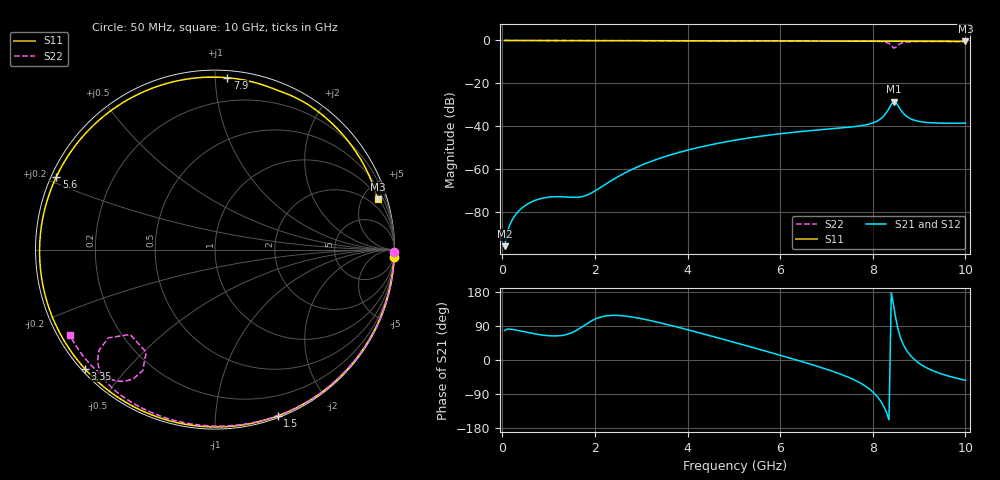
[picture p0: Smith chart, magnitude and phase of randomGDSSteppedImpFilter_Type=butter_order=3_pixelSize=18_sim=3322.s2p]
! freq	dB(S11)	phase(S11)	dB(S12)	phase(S12)
!  dB(S21)	phase(S21)	dB(S22)	phase(S22)
!S-par simulation data
#  GHz  S  DB  R 50
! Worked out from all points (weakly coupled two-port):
!   200 points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, 50 MHz to 10 GHz, reference 50 ohm
!   highest |S21| = -28.50 dB at 8.45 GHz (marker M1); lowest = -96.0 dB at 50 MHz (marker M2)
!   lowest |S11| = -0.5 dB at 10 GHz (marker M3), VSWR 38.26, Z = 56.7 + j321 ohm
!   |S11| at or under -10 dB: nowhere
!   |S22| runs from -3.5 to 0.0 dB; largest |S21 - S12| = 0
!   S11 on the Smith chart (normalised r, x): 50 MHz: 2, -45; 1.5 GHz: 0.01, -1.45; 3.35 GHz: 0.01, -0.39; 5.6 GHz: 0.01, +0.22; 7.9 GHz: 0.04, +1.07; 10 GHz: 1.13, +6.42
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0.05  -0.01 -2.5  -95.98 77.8  -95.98 77.8  -0.01 -0.9
0.35  -0.03 -16.9  -79.68 77.6  -79.68 77.6  -0.01 -6.1
0.55  -0.04 -26.5  -76.25 72.5  -76.25 72.5  -0.01 -9.5
0.85  -0.05 -40.5  -73.69 66.1  -73.69 66.1  -0.02 -14.7
1.5  -0.08 -69.4  -73.16 72.1  -73.16 72.1  -0.03 -25.7
1.75  -0.09 -79.7  -72.69 89.6  -72.69 89.6  -0.04 -30.0
2.5  -0.12 -108.6  -63.54 117.6  -63.54 117.6  -0.05 -42.4
3.35  -0.15 -137.6  -55.36 99.9  -55.36 99.9  -0.07 -56.1
3.4  -0.15 -139.2  -54.99 98.4  -54.99 98.4  -0.08 -56.9
4.2  -0.18 -164.0  -50.12 73.5  -50.12 73.5  -0.10 -69.5
5.05  -0.21 171.1  -46.44 45.2  -46.44 45.2  -0.13 -82.3
5.6  -0.24 155.3  -44.63 26.4  -44.63 26.4  -0.15 -90.5
6.7  -0.29 123.0  -41.98 -12.7  -41.98 -12.7  -0.21 -106.5
7.3  -0.32 104.8  -40.85 -37.1  -40.85 -37.1  -0.25 -115.3
7.9  -0.35 85.9  -39.14 -74.1  -39.14 -74.1  -0.33 -125.1
8.15  -0.38 77.9  -36.89 -105.0  -36.89 -105.0  -0.47 -130.9
8.35  -0.41 71.5  -31.74 -157.7  -31.74 -157.7  -1.34 -139.0
8.45  -0.41 68.4  -28.50 143.6  -28.50 143.6  -3.49 -135.0
8.5  -0.41 66.9  -28.93 107.5  -28.93 107.5  -3.24 -123.8
8.6  -0.38 63.7  -32.30 58.4  -32.30 58.4  -1.39 -122.3
8.9  -0.36 53.6  -37.24 1.2  -37.24 1.2  -0.56 -131.6
10  -0.45 17.2  -38.58 -53.5  -38.58 -53.5  -0.55 -149.4
